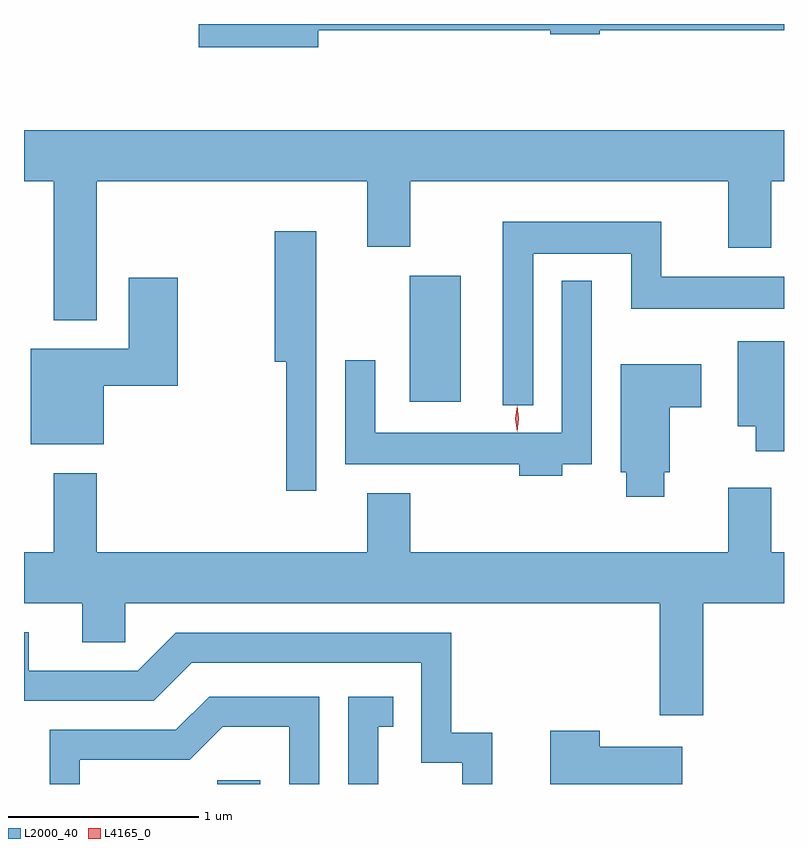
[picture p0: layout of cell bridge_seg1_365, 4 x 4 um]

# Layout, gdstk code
import gdstk
lib = gdstk.Library(unit=1e-6, precision=1e-09)
def R(c, l, rs):  # rectangles x0, y0, x1, y1
    for r in rs: c.add(gdstk.rectangle(r[:2], r[2:], *l))
def P(c, l, *ps):  # polygons
    for p in ps: c.add(gdstk.Polygon(p, *l))
L2000_40 = (2000, 40)
L4165_0 = (4165, 0)

bridge_seg1_365 = lib.new_cell('bridge_seg1_365')
R(bridge_seg1_365, L2000_40, [(879.511,867.544,879.739,867.564), (880.526,869.556,880.794,870.219)])
P(bridge_seg1_365, L2000_40, [(880.044,871.511),(881.266,871.511),(881.266,871.491),(881.524,871.491),(881.524,871.511),(882.495,871.511),(882.495,871.544),(879.416,871.544),(879.416,871.421),(880.044,871.421)],
  [(878.879,870.716),(880.301,870.716),(880.301,870.371),(880.529,870.371),(880.529,870.716),(882.201,870.716),(882.201,870.366),(882.429,870.366),(882.429,870.716),(882.495,870.716),(882.495,870.984),(878.495,870.984),(878.495,870.716),(878.651,870.716),(878.651,869.986),(878.879,869.986)],
  [(881.174,870.336),(881.691,870.336),(881.691,870.046),(882.495,870.046),(882.495,870.214),(881.849,870.214),(881.849,870.504),(881.016,870.504),(881.016,869.538),(881.174,869.538)],
  [(880.034,870.454),(879.816,870.454),(879.816,869.766),(879.876,869.766),(879.876,869.088),(880.034,869.088)],
  [(878.914,869.641),(879.304,869.641),(879.304,870.209),(879.046,870.209),(879.046,869.834),(878.531,869.834),(878.531,869.331),(878.914,869.331)],
  [(881.329,869.226),(881.484,869.226),(881.484,870.193),(881.326,870.193),(881.326,869.394),(880.344,869.394),(880.344,869.773),(880.186,869.773),(880.186,869.226),(881.101,869.226),(881.101,869.166),(881.329,869.166)],
  [(882.495,869.874),(882.251,869.874),(882.251,869.426),(882.346,869.426),(882.346,869.296),(882.495,869.296)],
  [(881.864,869.186),(881.894,869.186),(881.894,869.526),(882.059,869.526),(882.059,869.754),(881.636,869.754),(881.636,869.186),(881.666,869.186),(881.666,869.056),(881.864,869.056)],
  [(878.801,868.291),(879.029,868.291),(879.029,868.496),(881.841,868.496),(881.841,867.906),(882.069,867.906),(882.069,868.496),(882.495,868.496),(882.495,868.764),(882.429,868.764),(882.429,869.104),(882.201,869.104),(882.201,868.764),(880.529,868.764),(880.529,869.074),(880.301,869.074),(880.301,868.764),(878.879,868.764),(878.879,869.179),(878.651,869.179),(878.651,868.764),(878.495,868.764),(878.495,868.496),(878.801,868.496)],
  [(880.959,867.814),(880.744,867.814),(880.744,868.339),(879.294,868.339),(879.094,868.139),(878.519,868.139),(878.519,868.344),(878.495,868.344),(878.495,867.981),(879.177,867.981),(879.377,868.181),(880.586,868.181),(880.586,867.656),(880.801,867.656),(880.801,867.544),(880.959,867.544)],
  [(880.359,867.846),(880.438,867.846),(880.438,868.004),(880.201,868.004),(880.201,867.544),(880.359,867.544)],
  [(878.789,867.671),(879.367,867.671),(879.542,867.846),(879.891,867.846),(879.891,867.544),(880.049,867.544),(880.049,868.004),(879.469,868.004),(879.294,867.829),(878.631,867.829),(878.631,867.544),(878.789,867.544)],
  [(881.959,867.739),(881.524,867.739),(881.524,867.824),(881.266,867.824),(881.266,867.544),(881.959,867.544)])
P(bridge_seg1_365, L4165_0, [(881.09,869.397),(881.09,869.398),(881.081,869.467),(881.09,869.536),(881.091,869.536),(881.091,869.536),(881.1,869.467),(881.091,869.398)])

lib.write_gds('bridge_seg1_365.gds')
